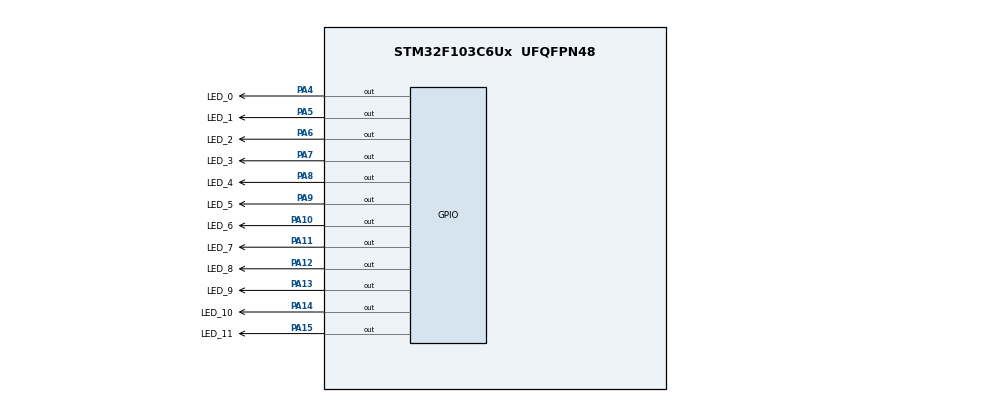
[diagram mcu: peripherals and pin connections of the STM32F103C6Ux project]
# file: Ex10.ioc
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Mcu.Family=STM32F1
Mcu.Name=STM32F103C6Ux
Mcu.Package=UFQFPN48
NVIC.PriorityGroup=NVIC_PRIORITYGROUP_4
PA10.GPIO_Label=LED_6
PA10.Signal=GPIO_Output
PA11.GPIO_Label=LED_7
PA11.Signal=GPIO_Output
PA12.GPIO_Label=LED_8
PA12.Signal=GPIO_Output
PA13.GPIO_Label=LED_9
PA13.Signal=GPIO_Output
PA14.GPIO_Label=LED_10
PA14.Signal=GPIO_Output
PA15.GPIO_Label=LED_11
PA15.Signal=GPIO_Output
PA4.GPIO_Label=LED_0
PA4.Signal=GPIO_Output
PA5.GPIO_Label=LED_1
PA5.Signal=GPIO_Output
PA6.GPIO_Label=LED_2
PA6.Signal=GPIO_Output
PA7.GPIO_Label=LED_3
PA7.Signal=GPIO_Output
PA8.GPIO_Label=LED_4
PA8.Signal=GPIO_Output
PA9.GPIO_Label=LED_5
PA9.Signal=GPIO_Output
ProjectManager.HeapSize=0x200
ProjectManager.StackSize=0x400
ProjectManager.TargetToolchain=STM32CubeIDE
RCC.APB1Freq_Value=8000000
RCC.APB2Freq_Value=8000000
VP_SYS_VS_ND.Mode=No_Debug
board=custom

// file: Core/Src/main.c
/* USER CODE BEGIN Header */
/**
  ******************************************************************************
  * @file           : main.c
  * @brief          : Main program body
  ******************************************************************************
  * @attention
  *
  * <h2><center>&copy; Copyright (c) 2023 STMicroelectronics.
  * All rights reserved.</center></h2>
  *
  * This software component is licensed by ST under BSD 3-Clause license,
  * the "License"; You may not use this file except in compliance with the
  * License. You may obtain a copy of the License at:
  *                        opensource.org/licenses/BSD-3-Clause
  *
  ******************************************************************************
  */
/* USER CODE END Header */
#include "main.h"

void SystemClock_Config(void);
static void MX_GPIO_Init(void);

int main(void)
{

  /* MCU Configuration--------------------------------------------------------*/

  /* Reset of all peripherals, Initializes the Flash interface and the Systick. */
  HAL_Init();

  /* Configure the system clock */
  SystemClock_Config();

  /* Initialize all configured peripherals */
  MX_GPIO_Init();

  /* Infinite loop */
  void  setNumberOnClock(int num){
      	  switch(num){
      	  case 0:
      		  HAL_GPIO_WritePin ( LED_0_GPIO_Port , LED_0_Pin ,RESET ) ;
      		  break;
      	  case 1:
      		  HAL_GPIO_WritePin ( LED_1_GPIO_Port , LED_1_Pin ,RESET ) ;
      		  break;
      	  case 2:
      		  HAL_GPIO_WritePin ( LED_2_GPIO_Port , LED_2_Pin ,RESET ) ;
      		  break;
      	  case 3:
      		  HAL_GPIO_WritePin ( LED_3_GPIO_Port , LED_3_Pin ,RESET ) ;
      		  break;
      	  case 4:
      		  HAL_GPIO_WritePin ( LED_4_GPIO_Port , LED_4_Pin ,RESET ) ;
      		  break;
      	  case 5:
      		  HAL_GPIO_WritePin ( LED_5_GPIO_Port , LED_5_Pin ,RESET ) ;
      		  break;
      	  case 6:
      		  HAL_GPIO_WritePin ( LED_6_GPIO_Port , LED_6_Pin ,RESET ) ;
      		  break;
      	  case 7:
      		  HAL_GPIO_WritePin ( LED_7_GPIO_Port , LED_7_Pin ,RESET ) ;
      		  break;
      	  case 8:
      		  HAL_GPIO_WritePin ( LED_8_GPIO_Port , LED_8_Pin ,RESET ) ;
      		  break;
      	  case 9:
      		  HAL_GPIO_WritePin ( LED_9_GPIO_Port , LED_9_Pin ,RESET ) ;
      		  break;
      	  case 10:
      		  HAL_GPIO_WritePin ( LED_10_GPIO_Port , LED_10_Pin ,RESET ) ;
      		  break;
      	  case 11:
      		  HAL_GPIO_WritePin ( LED_11_GPIO_Port , LED_11_Pin ,RESET ) ;
      		  break;
      	  case 12:
      		  HAL_GPIO_WritePin ( LED_0_GPIO_Port , LED_0_Pin ,RESET ) ;
      	  }
        }
    void clearAllClock(){
    		HAL_GPIO_WritePin ( LED_0_GPIO_Port , LED_0_Pin ,SET ) ;
    		HAL_GPIO_WritePin ( LED_1_GPIO_Port , LED_1_Pin ,SET ) ;
    		HAL_GPIO_WritePin ( LED_2_GPIO_Port , LED_2_Pin ,SET ) ;
    		HAL_GPIO_WritePin ( LED_3_GPIO_Port , LED_3_Pin ,SET ) ;
    		HAL_GPIO_WritePin ( LED_4_GPIO_Port , LED_4_Pin ,SET ) ;
    		HAL_GPIO_WritePin ( LED_5_GPIO_Port , LED_5_Pin ,SET ) ;
    		HAL_GPIO_WritePin ( LED_6_GPIO_Port , LED_6_Pin ,SET ) ;
    		HAL_GPIO_WritePin ( LED_7_GPIO_Port , LED_7_Pin ,SET ) ;
    		HAL_GPIO_WritePin ( LED_8_GPIO_Port , LED_8_Pin ,SET ) ;
    		HAL_GPIO_WritePin ( LED_9_GPIO_Port , LED_9_Pin ,SET ) ;
    		HAL_GPIO_WritePin ( LED_10_GPIO_Port , LED_10_Pin ,SET ) ;
    		HAL_GPIO_WritePin ( LED_11_GPIO_Port , LED_11_Pin ,SET ) ;
      }

  clearAllClock();
    /* USER CODE BEGIN WHILE */
  int hour = 7;
  int minute = 34;
  int second = 0;
  int counter = 5;
	 setNumberOnClock(second / 5);
	 setNumberOnClock(minute / 5);
	 setNumberOnClock(hour);
    while (1)
    {
    	counter--;
  	  second++;
  	  if(second >= 60){
  		  minute++;
  		  second = 0;
  	  }
  	  if(minute >= 60){
  		  hour++;
  		  minute = 0;
  	  }
  	  if(hour == 12){
  		  hour = 0;
  	  }
  	  if(counter == 0){
  		clearAllClock();
    	 setNumberOnClock(second / 5);
    	 setNumberOnClock(minute / 5);
    	 setNumberOnClock(hour);
  		counter = 5;
  	  }

  	  HAL_Delay(1000);
      /* USER CODE END WHILE */

    }
    }

void SystemClock_Config(void)
{
  RCC_OscInitTypeDef RCC_OscInitStruct = {0};
  RCC_ClkInitTypeDef RCC_ClkInitStruct = {0};

  /** Initializes the RCC Oscillators according to the specified parameters
  * in the RCC_OscInitTypeDef structure.
  */
  RCC_OscInitStruct.OscillatorType = RCC_OSCILLATORTYPE_HSI;
  RCC_OscInitStruct.HSIState = RCC_HSI_ON;
  RCC_OscInitStruct.HSICalibrationValue = RCC_HSICALIBRATION_DEFAULT;
  RCC_OscInitStruct.PLL.PLLState = RCC_PLL_NONE;
  if (HAL_RCC_OscConfig(&RCC_OscInitStruct) != HAL_OK)
  {
    Error_Handler();
  }
  /** Initializes the CPU, AHB and APB buses clocks
  */
  RCC_ClkInitStruct.ClockType = RCC_CLOCKTYPE_HCLK|RCC_CLOCKTYPE_SYSCLK
                              |RCC_CLOCKTYPE_PCLK1|RCC_CLOCKTYPE_PCLK2;
  RCC_ClkInitStruct.SYSCLKSource = RCC_SYSCLKSOURCE_HSI;
  RCC_ClkInitStruct.AHBCLKDivider = RCC_SYSCLK_DIV1;
  RCC_ClkInitStruct.APB1CLKDivider = RCC_HCLK_DIV1;
  RCC_ClkInitStruct.APB2CLKDivider = RCC_HCLK_DIV1;

  if (HAL_RCC_ClockConfig(&RCC_ClkInitStruct, FLASH_LATENCY_0) != HAL_OK)
  {
    Error_Handler();
  }
}

static void MX_GPIO_Init(void)
{
  GPIO_InitTypeDef GPIO_InitStruct = {0};

  /* GPIO Ports Clock Enable */
  __HAL_RCC_GPIOA_CLK_ENABLE();

  /*Configure GPIO pin Output Level */
  HAL_GPIO_WritePin(GPIOA, LED_0_Pin|LED_1_Pin|LED_2_Pin|LED_3_Pin
                          |LED_4_Pin|LED_5_Pin|LED_6_Pin|LED_7_Pin
                          |LED_8_Pin|LED_9_Pin|LED_10_Pin|LED_11_Pin, GPIO_PIN_RESET);

  /*Configure GPIO pins : LED_0_Pin LED_1_Pin LED_2_Pin LED_3_Pin
                           LED_4_Pin LED_5_Pin LED_6_Pin LED_7_Pin
                           LED_8_Pin LED_9_Pin LED_10_Pin LED_11_Pin */
  GPIO_InitStruct.Pin = LED_0_Pin|LED_1_Pin|LED_2_Pin|LED_3_Pin
                          |LED_4_Pin|LED_5_Pin|LED_6_Pin|LED_7_Pin
                          |LED_8_Pin|LED_9_Pin|LED_10_Pin|LED_11_Pin;
  GPIO_InitStruct.Mode = GPIO_MODE_OUTPUT_PP;
  GPIO_InitStruct.Pull = GPIO_NOPULL;
  GPIO_InitStruct.Speed = GPIO_SPEED_FREQ_LOW;
  HAL_GPIO_Init(GPIOA, &GPIO_InitStruct);

}

void Error_Handler(void)
{
  __disable_irq();
  while (1)
  {
  }
}

/************************ (C) COPYRIGHT STMicroelectronics *****END OF FILE****/
